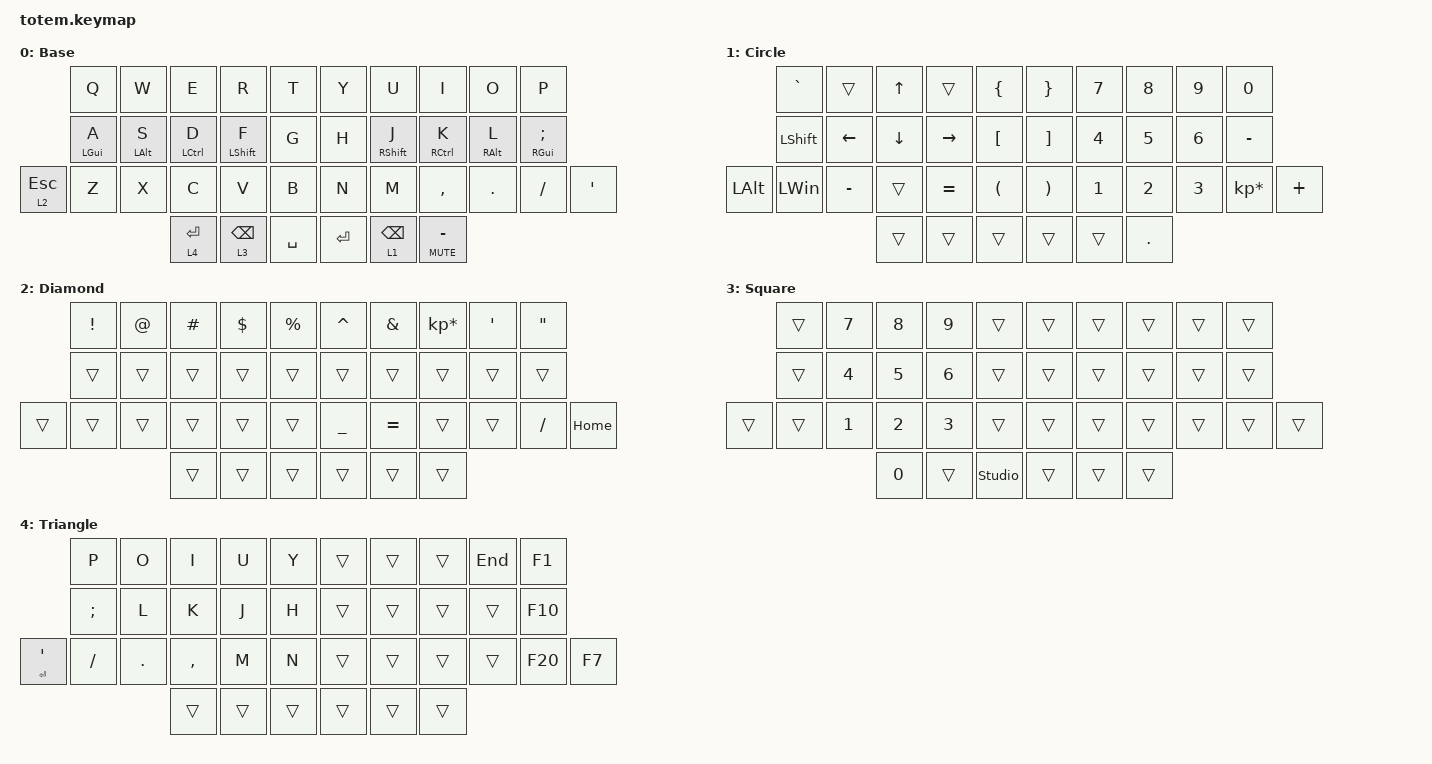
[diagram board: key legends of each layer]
//
//                                                        ▀▀▀▀▀     ▀▀▀▀▀          ▀▀█▀▀
//                                                        ▄▀▀▀▄  ▄  ▄▀▀▀▄  ▄  ▄▀▀▀▄  █  ▄▀▀▀▄
//                                                        █   █  █  █   █  █  █   █  █  █   █
//                                                         ▀▀▀   █   ▀▀▀   █   ▀▀▀   ▀   ▀▀▀
//                                                               █      ▄▄▄█▄▄▄    █   █  
//                                                               ▀      █  █  █     █▄█
//                                                             ▀▀▀▀▀    █  █  █      ▀
//                                                                      ▀  ▀  ▀
//
// ▄▄▄▄▄▄▄▄▄▄▄▄▄▄▄▄▄▄▄▄▄▄▄▄▄▄▄▄▄▄▄▄▄▄▄▄▄▄▄▄▄▄▄▄▄▄▄▄▄▄▄▄▄▄▄▄▄▄▄▄▄▄▄▄▄▄▄▄▄▄▄▄▄▄▄▄▄▄▄▄▄▄▄▄▄▄▄▄▄▄▄▄▄▄▄▄▄▄▄▄▄▄▄▄▄▄▄▄▄▄▄▄▄▄▄▄▄▄▄▄▄▄▄▄▄▄▄▄▄▄▄▄▄▄▄▄▄▄▄▄▄▄▄▄▄▄▄▄▄

#include <behaviors.dtsi>
#include <dt-bindings/zmk/keys.h>

#define Base        0
#define Cir.        1
#define Dia.        2
#define Square      3
#define Tri.        4

&mt {
    quick-tap-ms = <100>;
    global-quick-tap;
    flavor = "tap-preferred";
    tapping-term-ms = <170>;
};

&lt {
    tapping-term-ms = <240>;
    flavor = "balanced";
    quick-tap-ms = <150>;
};

/ {
    behaviors {
        hm: homerow_mods {
            compatible = "zmk,behavior-hold-tap";
            label = "HOMEROW_MODS";
            #binding-cells = <2>;
            flavor = "tap-preferred";
            tapping-term-ms = <200>;
            quick-tap-ms = <125>;
            global-quick-tap;
            bindings = <&kp>, <&kp>;
        };
    };

    combos {
        compatible = "zmk,combos";

        Escape {
            bindings = <&kp ESC>;
            key-positions = <0 1 4>;
        };

        Unlock {
            bindings = <&studio_unlock>;
            key-positions = <34 20 2>;
        };

        Layer3 {
            bindings = <&lt 3 TAB>;
            key-positions = <33 34>;
        };
    };

    keymap {
        compatible = "zmk,keymap";

        Base {
            display-name = "Base";
            bindings = <
              &kp Q       &kp W       &kp E        &kp R            &kp T        &kp Y    &kp U        &kp I             &kp O       &kp P
              &hm LGUI A  &hm LALT S  &hm LCTRL D  &hm LSHIFT F     &kp G        &kp H    &hm RSHFT J  &hm RCTRL K       &hm RALT L  &hm RGUI SEMICOLON
&lt 2 ESCAPE  &kp Z       &kp X       &kp C        &kp V            &kp B        &kp N    &kp M        &kp COMMA         &kp DOT     &kp SLASH           &kp APOSTROPHE
                                      &lt 4 ENTER  &lt 3 BACKSPACE  &kp SPACE    &kp RET  &lt 1 BSPC   &mt K_MUTE MINUS
            >;
        };

        Circle {
            display-name = "Circle";
            bindings = <
              &kp GRAVE       &trans     &kp UP_ARROW  &trans     &kp LEFT_BRACE      &kp RIGHT_BRACE    &kp NUMBER_7  &kp NUMBER_8  &kp NUMBER_9  &kp NUMBER_0
              &kp LEFT_SHIFT  &kp LEFT   &kp DOWN      &kp RIGHT  &kp LEFT_BRACKET    &kp RIGHT_BRACKET  &kp NUMBER_4  &kp NUMBER_5  &kp NUMBER_6  &kp MINUS
&kp LEFT_ALT  &kp LEFT_WIN    &kp MINUS  &trans        &kp EQUAL  &kp LPAR            &kp RPAR           &kp NUMBER_1  &kp NUMBER_2  &kp NUMBER_3  &kp KP_MULTIPLY  &kp PLUS
                                         &trans        &trans     &trans              &trans             &trans        &kp DOT
            >;
        };

        Diamond {
            display-name = "Diamond";
            bindings = <
        &kp EXCL  &kp AT  &kp HASH  &kp DOLLAR  &kp PERCENT    &kp CARET  &kp AMPERSAND  &kp KP_ASTERISK  &kp SQT  &kp DQT
        &trans    &trans  &trans    &trans      &trans         &trans     &trans         &trans           &trans   &trans
&trans  &trans    &trans  &trans    &trans      &trans         &kp UNDER  &kp EQUAL      &trans           &trans   &kp SLASH  &kp HOME
                          &trans    &trans      &trans         &trans     &trans         &trans
            >;
        };

        Square {
            display-name = "Square";
            bindings = <
        &trans  &kp NUMBER_7  &kp NUMBER_8  &kp NUMBER_9  &trans            &trans  &trans  &trans  &trans  &trans
        &trans  &kp NUMBER_4  &kp NUMBER_5  &kp NUMBER_6  &trans            &trans  &trans  &trans  &trans  &trans
&trans  &trans  &kp NUMBER_1  &kp NUMBER_2  &kp NUMBER_3  &trans            &trans  &trans  &trans  &trans  &trans  &trans
                              &kp NUMBER_0  &trans        &studio_unlock    &trans  &trans  &trans
            >;
        };

        Triangle {
            display-name = "Triangle";
            bindings = <
                      &kp P          &kp O       &kp I      &kp U   &kp Y     &trans  &trans  &trans  &kp END  &kp F1
                      &kp SEMICOLON  &kp L       &kp K      &kp J   &kp H     &trans  &trans  &trans  &trans   &kp F10
&mt ENTER APOSTROPHE  &kp SLASH      &kp PERIOD  &kp COMMA  &kp M   &kp N     &trans  &trans  &trans  &trans   &kp F20  &kp F7
                                                 &trans     &trans  &trans    &trans  &trans  &trans
            >;
        };
    };
};
